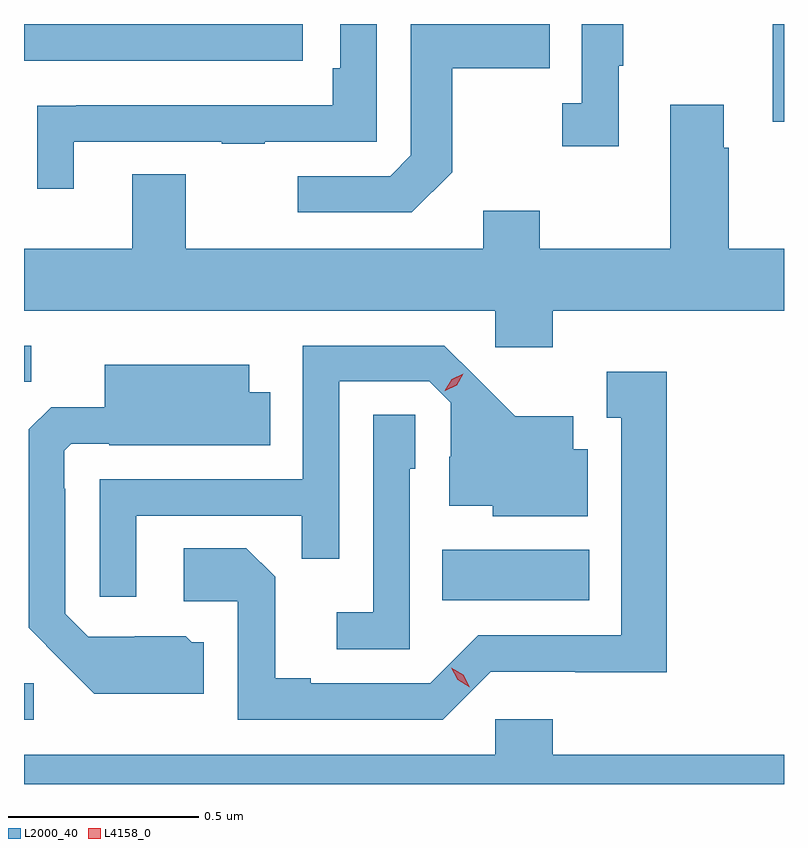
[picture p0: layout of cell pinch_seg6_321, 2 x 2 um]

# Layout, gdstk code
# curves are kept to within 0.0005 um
import gdstk
lib = gdstk.Library(unit=1e-6, precision=1e-09)
def R(c, l, rs):  # rectangles x0, y0, x1, y1
    for r in rs: c.add(gdstk.rectangle(r[:2], r[2:], *l))
def P(c, l, *ps):  # polygons
    for p in ps: c.add(gdstk.Polygon(p, *l))
L2000_40 = (2000, 40)
L4158_0 = (4158, 0)

pinch_seg6_321 = lib.new_cell('pinch_seg6_321')
R(pinch_seg6_321, L2000_40, [(639.542,963.576,639.568,963.672), (640.642,963.89,641.029,964.024), (639.542,964.465,639.561,964.56), (641.512,965.15,641.542,965.407)])
P(pinch_seg6_321, L2000_40, [(640.669,965.017),(640.669,965.29),(640.925,965.29),(640.925,965.407),(640.56,965.407),(640.56,965.061),(640.506,965.007),(640.263,965.007),(640.263,964.911),(640.563,964.911)],
  [(640.276,965.407),(640.115,965.407),(640.115,965.406),(639.542,965.406),(639.542,965.31),(640.276,965.31)],
  [(639.673,965.097),(640.063,965.097),(640.063,965.092),(640.175,965.092),(640.175,965.097),(640.47,965.097),(640.47,965.407),(640.374,965.407),(640.374,965.29),(640.354,965.29),(640.354,965.193),(639.679,965.193),(639.679,965.192),(639.577,965.192),(639.577,964.974),(639.673,964.974)],
  [(641.107,965.297),(641.119,965.297),(641.119,965.407),(641.01,965.407),(641.01,965.198),(640.959,965.198),(640.959,965.085),(641.107,965.085)],
  [(640.934,964.652),(641.542,964.652),(641.542,964.816),(641.396,964.816),(641.396,965.081),(641.383,965.081),(641.383,965.194),(641.243,965.194),(641.243,964.816),(640.899,964.816),(640.899,964.915),(640.751,964.915),(640.751,964.816),(639.967,964.816),(639.967,965.011),(639.827,965.011),(639.827,964.816),(639.542,964.816),(639.542,964.652),(640.782,964.652),(640.782,964.557),(640.934,964.557)],
  [(639.837,964.113),(640.273,964.113),(640.273,964),(640.371,964),(640.371,964.467),(640.608,964.467),(640.665,964.41),(640.665,964.268),(640.661,964.268),(640.661,964.139),(640.776,964.139),(640.776,964.112),(641.026,964.112),(641.026,964.288),(640.987,964.288),(640.987,964.375),(640.835,964.375),(640.648,964.56),(640.275,964.56),(640.275,964.209),(639.741,964.209),(639.741,963.9),(639.837,963.9)],
  [(640.015,963.78),(639.984,963.78),(639.968,963.796),(639.834,963.796),(639.834,963.795),(639.711,963.795),(639.651,963.855),(639.651,964.184),(639.648,964.184),(639.648,964.284),(639.666,964.302),(639.766,964.302),(639.766,964.298),(640.19,964.298),(640.19,964.438),(640.135,964.438),(640.135,964.51),(639.755,964.51),(639.755,964.399),(639.614,964.399),(639.555,964.34),(639.555,963.818),(639.727,963.644),(640.015,963.644)],
  [(640.77,963.702),(640.992,963.702),(640.992,963.701),(641.233,963.701),(641.233,964.492),(641.075,964.492),(641.075,964.371),(641.114,964.371),(641.114,963.798),(640.737,963.798),(640.611,963.672),(640.297,963.672),(640.297,963.685),(640.203,963.685),(640.203,963.952),(640.127,964.028),(639.963,964.028),(639.963,963.888),(640.104,963.888),(640.104,963.576),(640.644,963.576)],
  [(640.557,964.236),(640.572,964.236),(640.572,964.379),(640.461,964.379),(640.461,963.859),(640.365,963.859),(640.365,963.762),(640.557,963.762)],
  [(641.542,963.484),(640.934,963.484),(640.934,963.577),(640.782,963.577),(640.782,963.484),(639.542,963.484),(639.542,963.407),(641.542,963.407)])
P(pinch_seg6_321, L4158_0, [(640.715,963.662),(640.683,963.681),(640.666,963.713),(640.666,963.713),(640.666,963.713),(640.698,963.694),(640.715,963.662),(640.715,963.662)],
  [(640.649,964.442),(640.649,964.442),(640.667,964.472),(640.698,964.486),(640.698,964.486),(640.698,964.486),(640.681,964.457),(640.65,964.442)])

lib.write_gds('pinch_seg6_321.gds')
